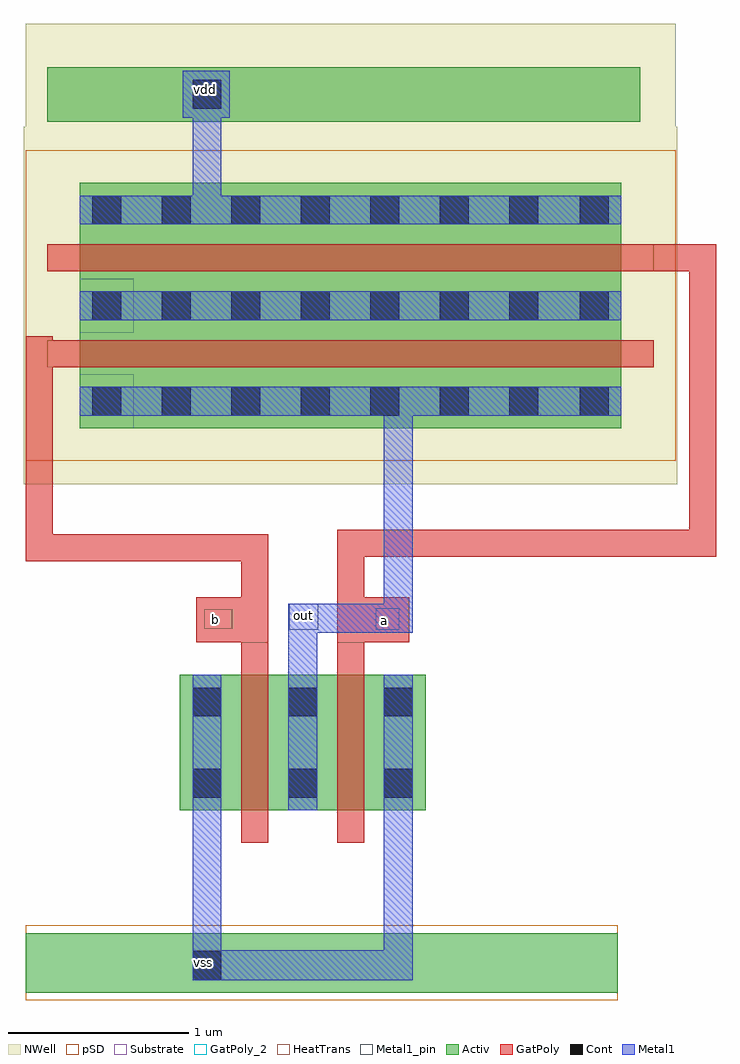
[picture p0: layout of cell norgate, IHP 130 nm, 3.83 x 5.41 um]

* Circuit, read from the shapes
.subckt norgate a b out vdd vss
XM1 out b vss vss sg13_lv_nmos w=0.75u l=0.15u
XM2 vss a out vss sg13_lv_nmos w=0.75u l=0.15u
XM3 n1 b out vdd sg13_lv_pmos w=3u l=0.15u
XM4 vdd a n1 vdd sg13_lv_pmos w=3u l=0.15u
.ends

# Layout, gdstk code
from math import pi, radians
import gdstk
lib = gdstk.Library(unit=1e-6, precision=5e-09)
def R(c, l, rs):  # rectangles x0, y0, x1, y1
    for r in rs: c.add(gdstk.rectangle(r[:2], r[2:], *l))
def A(c, l, x, y, w, h, nx, ny, dx, dy):  # array of equal rectangles
    R(c, l, [(x+i*dx, y+j*dy, x+i*dx+w, y+j*dy+h) for i in range(nx) for j in range(ny)])
Activ = (1, 0)
GatPoly = (5, 0)
GatPoly_2 = (5, 2)
Cont = (6, 0)
Metal1 = (8, 0)
Metal1_pin = (8, 2)
pSD = (14, 0)
NWell = (31, 0)
Substrate = (40, 0)
HeatTrans = (51, 0)

nmos_5 = lib.new_cell('nmos$5')
R(nmos_5, Activ, [(0,0,0.3,0.3), (0,0,0.83,0.75), (0.53,0,0.83,0.3)])
R(nmos_5, GatPoly, [(0.34,-0.18,0.49,0.93)])
R(nmos_5, GatPoly_2, [(0.34,-0.18,0.49,0.93)])
R(nmos_5, Cont, [(0.07,0.07,0.23,0.23), (0.6,0.07,0.76,0.23), (0.07,0.52,0.23,0.68), (0.6,0.52,0.76,0.68)])
R(nmos_5, Metal1, [(0.07,0,0.23,0.75), (0.6,0,0.76,0.75)])
R(nmos_5, Metal1_pin, [(0.07,0,0.23,0.75), (0.6,0,0.76,0.75)])
R(nmos_5, HeatTrans, [(0.34,-0.18,0.49,0.93)])
nmos_5.add(gdstk.Label('nmos', (0.415,0.375), layer=63, texttype=0))
nmos_5.add(gdstk.Label('nmos', (0.415,0.375), layer=51, texttype=0))

pmos_5 = lib.new_cell('pmos$5')
R(pmos_5, Activ, [(0,0,0.3,0.3), (0,0,0.83,3), (0.53,0,0.83,0.3)])
R(pmos_5, GatPoly, [(0.34,-0.18,0.49,3.18), (0.34,-0.18,0.49,3.18)])
A(pmos_5, Cont, 0.07, 0.07, 0.16, 0.16, 1, 7, 0, 0.385)
A(pmos_5, Cont, 0.6, 0.07, 0.16, 0.16, 1, 7, 0, 0.385)
R(pmos_5, Cont, [(0.07,2.77,0.23,2.93), (0.6,2.77,0.76,2.93)])
R(pmos_5, Metal1, [(0.07,0,0.23,3), (0.07,0,0.23,3), (0.6,0,0.76,3), (0.6,0,0.76,3)])
R(pmos_5, pSD, [(-0.18,-0.3,1.01,3.3)])
R(pmos_5, NWell, [(-0.31,-0.31,1.14,3.31)])
R(pmos_5, Substrate, [(0.53,0,0.83,0.3)])
R(pmos_5, HeatTrans, [(0.34,-0.18,0.49,3.18)])
pmos_5.add(gdstk.Label('pmos', (0.415,1.5), layer=63, texttype=0))
pmos_5.add(gdstk.Label('pmos', (0.415,1.5), layer=51, texttype=0))

norgate = lib.new_cell('norgate')
R(norgate, Activ, [(-1.47,-2.5,1.81,-2.17), (-1.35,2.325,1.935,2.625)])
R(norgate, GatPoly, [(-0.525,-0.56,-0.125,-0.31), (-0.275,-0.56,-0.125,-0.11), (0.255,-0.56,0.405,0.065), (0.255,-0.56,0.655,-0.31), (-1.47,-0.11,-0.125,0.04), (0.255,-0.085,2.355,0.065), (2.205,-0.085,2.355,1.645), (-1.47,0.04,-1.32,1.135), (-1.47,0.965,-1.35,1.135), (2.01,1.495,2.355,1.645)])
R(norgate, GatPoly_2, [(0.47,-0.49,0.6,-0.37), (-0.48,-0.485,-0.325,-0.375)])
R(norgate, Cont, [(-0.545,-2.43,-0.385,-2.27), (-0.545,2.395,-0.385,2.555)])
R(norgate, Metal1, [(-0.545,-2.43,-0.385,-0.74), (-0.545,-2.43,0.675,-2.265), (0.515,-2.43,0.675,-0.74), (-0.015,-0.74,0.145,-0.36), (-0.015,-0.505,0.675,-0.345), (0.515,-0.49,0.675,0.695), (-0.545,1.915,-0.385,2.345), (-0.6,2.345,-0.34,2.605)])
R(norgate, Metal1_pin, [(-0.545,-2.43,-0.385,-2.265), (-0.01,-0.49,0.15,-0.345), (-0.545,2.395,-0.385,2.555)])
R(norgate, pSD, [(-1.47,-2.54,1.81,-2.125)])
R(norgate, NWell, [(-1.47,2.295,2.13,2.865)])
norgate.add(gdstk.Reference(nmos_5, (0.745,-0.74), rotation=pi))
norgate.add(gdstk.Reference(nmos_5, (-0.615,-1.49)))
norgate.add(gdstk.Reference(pmos_5, (-1.17,1.985), rotation=3*pi/2))
norgate.add(gdstk.Reference(pmos_5, (-1.17,1.455), rotation=3*pi/2))
norgate.add(gdstk.Label('vss', (-0.485,-2.335), layer=8, texttype=2))
norgate.add(gdstk.Label('vdd', (-0.475,2.5), layer=8, texttype=2))
norgate.add(gdstk.Label('out', (0.07,-0.41), layer=8, texttype=2))
norgate.add(gdstk.Label('b', (-0.42,-0.435), layer=5, texttype=2))
norgate.add(gdstk.Label('a', (0.52,-0.44), layer=5, texttype=2))

lib.write_gds('norgate.gds')
